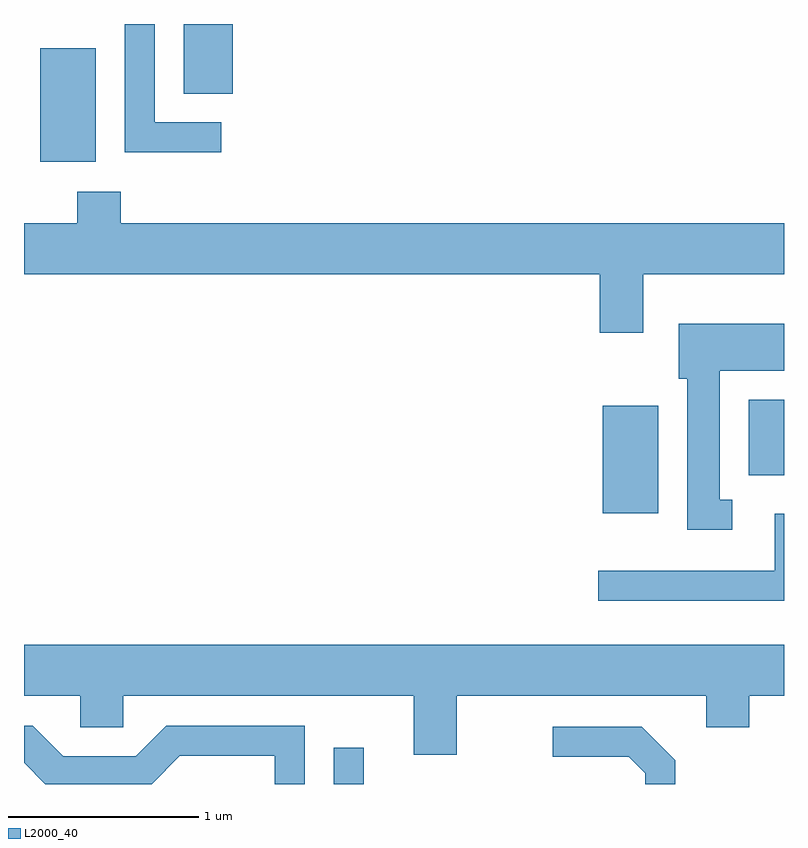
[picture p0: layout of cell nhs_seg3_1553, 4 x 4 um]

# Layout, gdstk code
import gdstk
lib = gdstk.Library(unit=1e-6, precision=1e-09)
def R(c, l, rs):  # rectangles x0, y0, x1, y1
    for r in rs: c.add(gdstk.rectangle(r[:2], r[2:], *l))
def P(c, l, *ps):  # polygons
    for p in ps: c.add(gdstk.Polygon(p, *l))
L2000_40 = (2000, 40)

nhs_seg3_1553 = lib.new_cell('nhs_seg3_1553')
R(nhs_seg3_1553, L2000_40, [(231.241,1229.892,231.399,1230.083), (232.656,1231.316,232.949,1231.884), (233.426,1231.516,233.611,1231.914), (229.696,1233.166,229.989,1233.764), (230.451,1233.526,230.709,1233.892)])
P(nhs_seg3_1553, L2000_40, [(230.648,1233.374),(230.299,1233.374),(230.299,1233.892),(230.141,1233.892),(230.141,1233.216),(230.648,1233.216)],
  [(232.869,1232.576),(233.611,1232.576),(233.611,1232.844),(230.119,1232.844),(230.119,1233.009),(229.891,1233.009),(229.891,1232.844),(229.611,1232.844),(229.611,1232.576),(232.641,1232.576),(232.641,1232.266),(232.869,1232.266)],
  [(233.338,1231.389),(233.274,1231.389),(233.274,1232.066),(233.611,1232.066),(233.611,1232.314),(233.056,1232.314),(233.056,1232.026),(233.101,1232.026),(233.101,1231.231),(233.338,1231.231)],
  [(233.611,1231.314),(233.561,1231.314),(233.561,1231.014),(232.633,1231.014),(232.633,1230.856),(233.611,1230.856)],
  [(231.889,1230.356),(233.201,1230.356),(233.201,1230.191),(233.429,1230.191),(233.429,1230.356),(233.611,1230.356),(233.611,1230.624),(229.611,1230.624),(229.611,1230.356),(229.906,1230.356),(229.906,1230.191),(230.134,1230.191),(230.134,1230.356),(231.661,1230.356),(231.661,1230.046),(231.889,1230.046)],
  [(230.432,1230.041),(230.931,1230.041),(230.931,1229.892),(231.089,1229.892),(231.089,1230.199),(230.359,1230.199),(230.199,1230.039),(229.817,1230.039),(229.657,1230.199),(229.611,1230.199),(229.611,1230.004),(229.723,1229.892),(230.283,1229.892)],
  [(233.039,1230.017),(232.862,1230.194),(232.393,1230.194),(232.393,1230.036),(232.794,1230.036),(232.881,1229.949),(232.881,1229.892),(233.039,1229.892)])

lib.write_gds('nhs_seg3_1553.gds')
